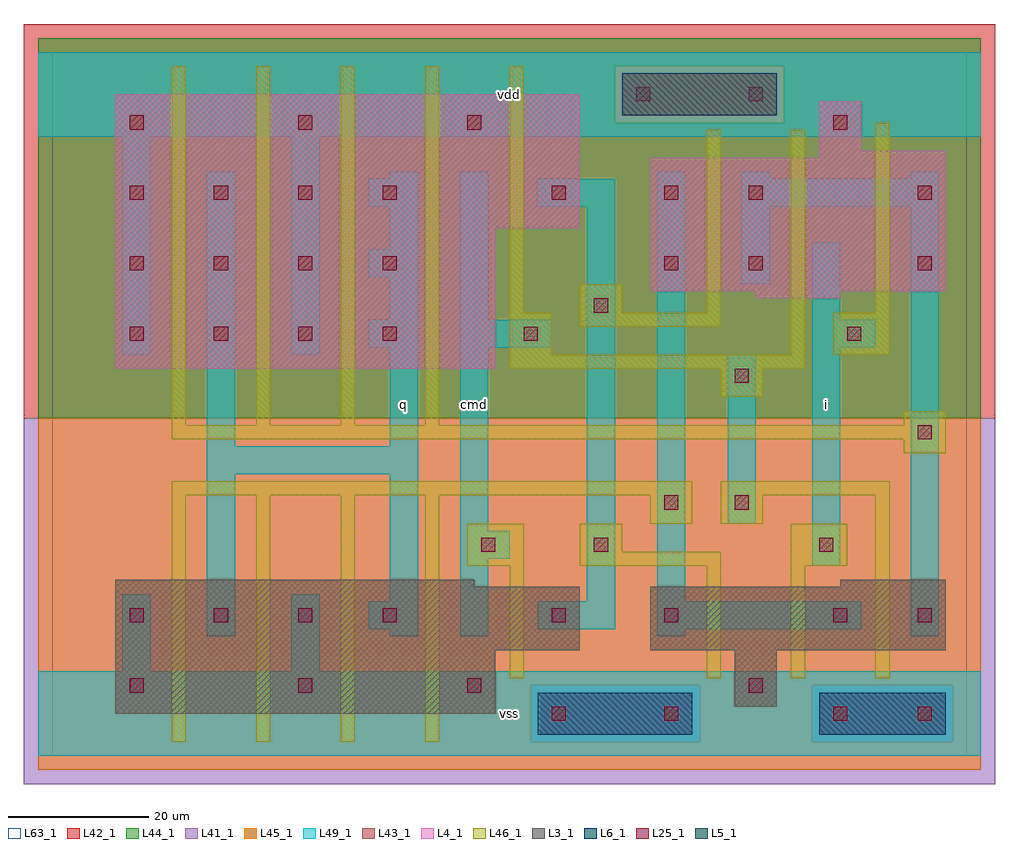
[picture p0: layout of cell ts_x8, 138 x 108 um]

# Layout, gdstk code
import gdstk
lib = gdstk.Library(unit=1e-6, precision=1e-09)
def R(c, l, rs):  # rectangles x0, y0, x1, y1
    for r in rs: c.add(gdstk.rectangle(r[:2], r[2:], *l))
def A(c, l, x, y, w, h, nx, ny, dx, dy):  # array of equal rectangles
    R(c, l, [(x+i*dx, y+j*dy, x+i*dx+w, y+j*dy+h) for i in range(nx) for j in range(ny)])
L3_1 = (3, 1)
L4_1 = (4, 1)
L5_1 = (5, 1)
L6_1 = (6, 1)
L25_1 = (25, 1)
L41_1 = (41, 1)
L42_1 = (42, 1)
L43_1 = (43, 1)
L44_1 = (44, 1)
L45_1 = (45, 1)
L46_1 = (46, 1)
L49_1 = (49, 1)
L63_1 = (63, 1)

ts_x8 = lib.new_cell('ts_x8')
R(ts_x8, L3_1, [(9,6,63,15), (97,7,103,15), (9,15,75,24), (85,15,127,24), (9,24,60,25), (112,24,127,25)])
R(ts_x8, L4_1, [(9,55,63,75), (100,65,112,66), (85,66,127,85), (9,75,75,94), (109,85,127,86), (109,86,115,93)])
R(ts_x8, L5_1, [(81,91,103,97)])
R(ts_x8, L6_1, [(69,3,91,9), (69,3,91,9), (109,3,127,9), (109,3,127,9)])
A(ts_x8, L25_1, 11, 9, 2, 2, 3, 2, 24, 80)
A(ts_x8, L25_1, 11, 19, 2, 2, 4, 2, 12, 40)
A(ts_x8, L25_1, 11, 69, 2, 2, 4, 2, 12, 10)
R(ts_x8, L25_1, [(71,5,73,7), (87,5,89,7), (111,5,113,7), (123,5,125,7), (99,9,101,11), (71,19,73,21), (87,19,89,21), (111,19,113,21), (123,19,125,21), (61,29,63,31), (77,29,79,31), (109,29,111,31), (87,35,89,37), (97,35,99,37), (123,45,125,47), (97,53,99,55), (67,59,69,61), (113,59,115,61), (77,63,79,65), (87,69,89,71), (99,69,101,71), (123,69,125,71), (71,79,73,81), (87,79,89,81), (99,79,101,81), (123,79,125,81), (111,89,113,91), (83,93,85,95), (99,93,101,95)])
R(ts_x8, L41_1, [(-4,-4,134,48)])
R(ts_x8, L42_1, [(-4,48,134,104)])
R(ts_x8, L43_1, [(69,3,91,9), (109,3,127,9), (9,6,63,15), (97,7,103,15), (9,15,75,24), (85,15,127,24), (9,24,60,25), (112,24,127,25), (9,55,63,75), (100,65,112,66), (85,66,127,85), (9,75,75,94), (109,85,127,86), (109,86,115,93), (81,91,103,97)])
R(ts_x8, L44_1, [(68,2,92,10), (108,2,128,10), (-2,48,132,90), (-2,90,80,98), (104,90,132,98), (-2,98,132,102)])
R(ts_x8, L45_1, [(-2,-2,132,2), (-2,2,68,10), (92,2,108,10), (128,2,132,10), (-2,10,132,48), (80,90,104,98)])
A(ts_x8, L46_1, 17, 2, 2, 35, 4, 1, 12, 0)
A(ts_x8, L46_1, 17, 47, 2, 51, 4, 1, 12, 0)
R(ts_x8, L46_1, [(65,11,67,27), (93,11,95,27), (105,11,107,27), (117,11,119,37), (59,27,67,33), (75,27,95,29), (105,27,113,33), (75,29,81,33), (85,33,91,37), (95,33,101,37), (17,37,91,39), (95,37,119,39), (121,43,127,45), (17,45,127,47), (121,47,127,49), (95,51,101,55), (65,55,107,57), (65,57,71,63), (105,57,107,89), (111,57,119,63), (75,61,95,63), (65,63,67,98), (75,63,81,67), (93,63,95,89), (117,63,119,90)])
A(ts_x8, L49_1, 45, 58, 7, 4, 1, 3, 0, 10)
R(ts_x8, L49_1, [(-2,0,132,12), (10,12,14,23), (34,12,38,23), (22,17,26,40), (48,17,52,18), (58,17,62,28), (86,17,90,18), (122,17,126,78), (45,18,52,22), (69,18,80,22), (86,18,115,22), (48,22,52,40), (76,22,80,78), (86,22,90,83), (108,27,112,58), (58,28,65,32), (58,32,62,58), (96,33,100,57), (22,40,52,44), (22,44,26,83), (48,44,52,58), (10,57,14,88), (34,57,38,88), (58,58,71,62), (108,58,117,62), (48,62,52,68), (58,62,62,83), (108,62,112,73), (98,67,102,78), (48,72,52,78), (69,78,80,82), (98,78,126,82), (48,82,52,83), (98,82,102,83), (122,82,126,83), (-2,88,132,100)])
R(ts_x8, L63_1, [(0,0,130,100)])
ts_x8.add(gdstk.Label('vss', (65,6), layer=49, texttype=1))
ts_x8.add(gdstk.Label('q', (50,50), layer=49, texttype=1))
ts_x8.add(gdstk.Label('cmd', (60,50), layer=49, texttype=1))
ts_x8.add(gdstk.Label('vdd', (65,94), layer=49, texttype=1))
ts_x8.add(gdstk.Label('i', (110,50), layer=49, texttype=1))

lib.write_gds('ts_x8.gds')
